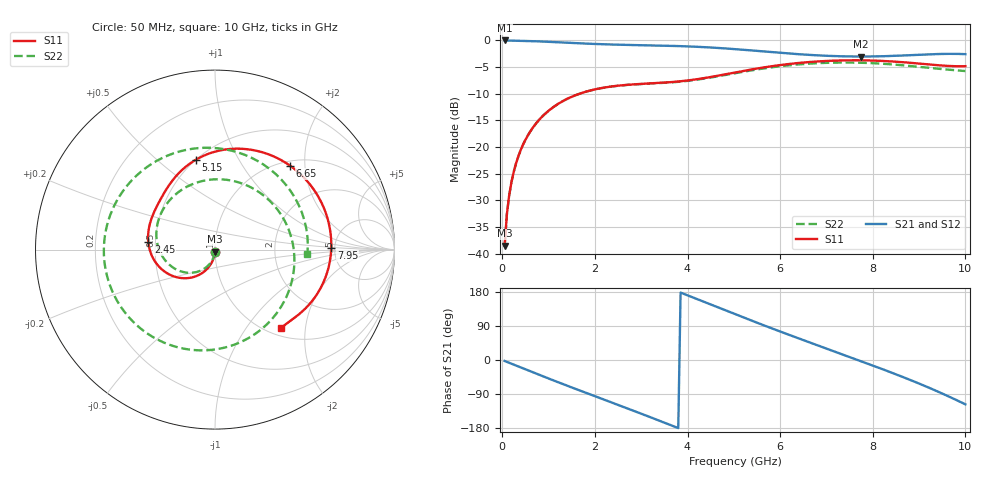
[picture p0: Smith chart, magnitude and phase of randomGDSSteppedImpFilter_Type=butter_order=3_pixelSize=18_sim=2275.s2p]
! freq	dB(S11)	phase(S11)	dB(S12)	phase(S12)
!  dB(S21)	phase(S21)	dB(S22)	phase(S22)
!S-par simulation data
#  GHz  S  DB  R 50
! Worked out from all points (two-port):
!   200 points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, 50 MHz to 10 GHz, reference 50 ohm
!   highest |S21| = -0.02 dB at 50 MHz (marker M1); lowest = -3.0 dB at 7.75 GHz (marker M2)
!   |S21| within 3 dB of the highest: start of sweep to 7.526 GHz; 7.961 GHz to end of sweep
!   lowest |S11| = -38.5 dB at 50 MHz (marker M3), VSWR 1.02, Z = 49.9 - j1.18 ohm
!   |S11| at or under -10 dB: start of sweep to 1.669 GHz
!   |S22| runs from -38.6 to -4.2 dB; largest |S21 - S12| = 0
!   S11 on the Smith chart (normalised r, x): 50 MHz: 1.00, -0.02; 2.45 GHz: 0.46, +0.04; 5.15 GHz: 0.50, +0.68; 6.65 GHz: 1.09, +1.68; 7.95 GHz: 4.67, +0.14; 10 GHz: 1.14, -1.49
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0.05  -38.51 -92.1  -0.02 -2.6  -0.02 -2.6  -38.58 -92.8
0.1  -32.49 -94.6  -0.03 -5.0  -0.03 -5.0  -32.54 -95.9
0.2  -26.47 -99.2  -0.04 -9.9  -0.04 -9.9  -26.50 -101.7
0.5  -18.63 -112.4  -0.10 -24.7  -0.10 -24.7  -18.64 -118.2
1.15  -12.22 -139.6  -0.34 -56.0  -0.34 -56.0  -12.22 -153.7
1.75  -9.77 -162.7  -0.59 -84.0  -0.59 -84.0  -9.77 173.2
2.45  -8.54 173.6  -0.80 -116.2  -0.80 -116.2  -8.56 132.6
3.4  -7.97 147.5  -0.98 -160.5  -0.98 -160.5  -8.02 70.2
4.15  -7.35 129.9  -1.18 163.4  -1.18 163.4  -7.43 15.8
5.05  -5.98 105.3  -1.66 119.8  -1.66 119.8  -6.12 -46.3
5.15  -5.82 102.2  -1.73 115.0  -1.73 115.0  -5.96 -52.7
5.9  -4.75 76.2  -2.26 79.8  -2.26 79.8  -4.96 -96.5
6.65  -4.05 48.1  -2.73 45.8  -2.73 45.8  -4.35 -135.9
6.7  -4.02 46.2  -2.76 43.5  -2.76 43.5  -4.33 -138.4
7.25  -3.78 25.6  -2.97 19.1  -2.97 19.1  -4.16 -166.3
7.75  -3.74 7.7  -3.03 -3.2  -3.03 -3.2  -4.20 167.4
7.95  -3.77 0.8  -3.02 -12.3  -3.02 -12.3  -4.26 156.3
8.35  -3.92 -12.3  -2.94 -30.7  -2.94 -30.7  -4.46 132.7
8.8  -4.20 -25.6  -2.78 -52.2  -2.78 -52.2  -4.79 102.9
9.2  -4.51 -35.6  -2.62 -72.4  -2.62 -72.4  -5.14 72.5
9.65  -4.80 -44.5  -2.53 -96.8  -2.53 -96.8  -5.51 32.7
10  -4.84 -49.9  -2.59 -117.0  -2.59 -117.0  -5.76 -2.9
